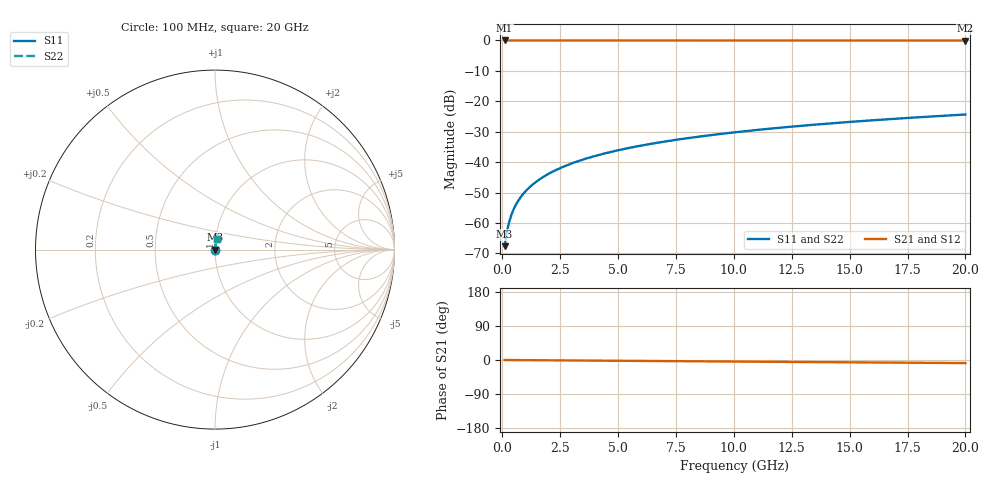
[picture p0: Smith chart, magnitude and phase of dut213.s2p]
! Touchstone file exported from HFSS 2026.1.0
!  File:  C:/ffzhzh/LocalFiles/Ansys_Project_Files/temp_train_TSV_213_1782991994_45328.aedt
!  Generated:  07:34:51 PM Jul  2, 2026
!  Design:  TSV
!  Project:  temp_train_TSV_213_1782991994_45328
! Variables:
!  h_bsmrdl = 2um
!  h_ox = 20um
!  h_rdl = 5um
!  h_sub = 69.02um
!  h_tmrdl = 5um
!  h_tsv = 69.02um
!  h_via = 3um
!  l_bsmrdl = 300um
!  l_sub = 412.56um
!  l_tmrdl = 200um
!  m_sub = 200um
!  pitch = 47.56um
!  r_tsv = 6.28um
!  s_tmrdl = 10um
!  w_bsmrdl = 18um
!  w_sub = 500um
!  w_tmrdl = 12um
!  x_tsv_center1 = 206um
!  x_tsv_center2 = 524um
!  x_tsv_center3 = 736um
!  x_tsv_center4 = 1054um
!  x_tsv_center5 = 1266um
!  x_tsv_center6 = 1584um
# GHz S MA R 50.000000
! Terminal data exported
! Port[1] = TSV1_1_T1
! Port[2] = TSV1_1_T2
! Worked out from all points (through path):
!   200 points, 100 MHz to 20 GHz, reference 50 ohm
!   highest |S21| = 0.00 dB at 100 MHz (marker M1); lowest = 0.0 dB at 20 GHz (marker M2)
!   group delay of S21, straight-line fit = 1.12 ps
!   lowest |S11| = -67.6 dB at 100 MHz (marker M3), VSWR 1.00, Z = 50 + j0.0343 ohm
!   |S11| at or under -10 dB: start of sweep to end of sweep
!   |S22| runs from -67.6 to -24.3 dB; largest |S21 - S12| = 4.2e-15
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0.1  0.0004156 55.6  0.9998 -0.0  0.9998 -0.0  0.0004156 55.6
! Gamma 0 0 0 0
! Port Impedance 50 0 50 0
0.2  0.0007263 70.3  0.9998 -0.1  0.9998 -0.1  0.0007263 70.3
0.3  0.001054 75.8  0.9997 -0.1  0.9997 -0.1  0.001054 75.8
0.4  0.001384 78.4  0.9997 -0.2  0.9997 -0.2  0.001384 78.4
0.5  0.001711 80.0  0.9997 -0.2  0.9997 -0.2  0.001711 80.0
0.6  0.002036 81.0  0.9997 -0.3  0.9997 -0.3  0.002036 81.0
0.7  0.002357 81.7  0.9997 -0.3  0.9997 -0.3  0.002357 81.7
0.8  0.002676 82.2  0.9996 -0.3  0.9996 -0.3  0.002676 82.2
1  0.003309 83.0  0.9996 -0.4  0.9996 -0.4  0.003309 83.0
1.4  0.004561 83.9  0.9995 -0.6  0.9995 -0.6  0.004561 83.9
1.7  0.005496 84.4  0.9995 -0.7  0.9995 -0.7  0.005496 84.4
2  0.006428 84.7  0.9995 -0.8  0.9995 -0.8  0.006428 84.7
2.7  0.008599 85.1  0.9994 -1.1  0.9994 -1.1  0.008599 85.1
3.5  0.01107 85.2  0.9993 -1.4  0.9993 -1.4  0.01107 85.2
4.2  0.01322 85.2  0.9992 -1.7  0.9992 -1.7  0.01322 85.2
5  0.01567 85.1  0.9991 -2.1  0.9991 -2.1  0.01567 85.1
6.8  0.02114 84.7  0.9989 -2.8  0.9989 -2.8  0.02114 84.7
8.3  0.02567 84.3  0.9987 -3.4  0.9987 -3.4  0.02567 84.3
10.1  0.0311 83.8  0.9984 -4.1  0.9984 -4.1  0.0311 83.8
13.4  0.041 82.8  0.9979 -5.5  0.9979 -5.5  0.041 82.8
16.7  0.05085 81.6  0.9973 -6.8  0.9973 -6.8  0.05085 81.6
20  0.06062 80.4  0.9966 -8.1  0.9966 -8.1  0.06062 80.4
